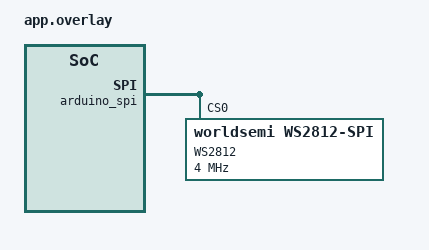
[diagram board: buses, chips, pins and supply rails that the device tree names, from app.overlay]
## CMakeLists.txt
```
cmake_minimum_required(VERSION 3.20.0)

set(CMAKE_EXPORT_COMPILE_COMMANDS ON)

find_package(Zephyr REQUIRED HINTS $ENV{ZEPHYR_BASE})

project(touche_server)

target_sources(app PRIVATE
    src/main.c

    src/actions_handler/actions_handler.c
    src/actions_handler/actions_handler.h

    src/buzzer/buzzer.c
    src/buzzer/buzzer.h

    src/led_ring/led_ring.c
    src/led_ring/led_ring.h

    ../shared/led/led.c
    ../shared/led/led.h

    ../shared/radio/radio.c
    ../shared/radio/radio.h
    )

target_include_directories(app PRIVATE
        ../shared
        ../shared/radio
        ../shared/led
    )
```

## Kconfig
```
config SPI
	default y

source "Kconfig.zephyr"
```

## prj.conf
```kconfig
# gpio
CONFIG_GPIO=y

# enable logs
CONFIG_LOG=y
CONFIG_LOG_MODE_IMMEDIATE=y

# Enhanced ShockBurst
CONFIG_ESB=y

# enable __ASSERT macro
CONFIG_ASSERT=y

CONFIG_SPI=y
CONFIG_LED_STRIP=y
CONFIG_LED_STRIP_LOG_LEVEL_DBG=y
CONFIG_WS2812_STRIP=y
```

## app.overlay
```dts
#include <dt-bindings/gpio/gpio.h>
#include <dt-bindings/led/led.h>

&arduino_spi {
    status = "okay";
    compatible = "nordic,nrf-spim";
led_strip: ws2812@0 {
               compatible = "worldsemi,ws2812-spi";
               label = "WS2812";

               /* SPI */
               reg = <0>; /* ignored, but necessary for SPI bindings */
               spi-max-frequency = <4000000>;

               /* WS2812 */
               chain-length = <12>;
               color-mapping = <
                   LED_COLOR_ID_GREEN
                   LED_COLOR_ID_RED
                   LED_COLOR_ID_BLUE
                   >;
               spi-one-frame = <0x70>;
               spi-zero-frame = <0x40>;
           };
};

/ {
    aliases {
        led-strip = &led_strip;
    };
};
```

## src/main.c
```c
#include "actions_handler/actions_handler.h"
#include "buzzer/buzzer.h"
#include "led/led.h"
#include "led_ring/led_ring.h"
#include "protocol.h"
#include "radio/radio.h"

#include <assert.h>
#include <logging/log.h>
#include <nrf.h>
#include <stdlib.h>
#include <zephyr.h>

LOG_MODULE_REGISTER(main_server, LOG_LEVEL_INF);

void main()
{
    LOG_INF("Starting main");

    // init led
    __ASSERT(led_init() == EXIT_SUCCESS, "Led init failed");

    // init radio
    __ASSERT(radio_init() == EXIT_SUCCESS, "Radio init failed");
    __ASSERT(radio_start_rx() == EXIT_SUCCESS, "Radio rx setup failed");

    // init buzzer
    __ASSERT(buzzer_init() == EXIT_SUCCESS, "Buzzer init failed");

    __ASSERT(led_ring_init() == 0, "Led ring init failed");

    while (1) {
        struct esb_payload *packet = radio_get_last_message();
        if (packet) {
            payload_type_e payload_type = GET_PAYLOAD(packet->data[0]);
            touche_role_e role = GET_ROLE(packet->data[0]);

            switch (payload_type) {
                case HIT:
                    LOG_INF("Received message");
                    led_set();
                    led_ring_set_color(RGB_COLOR_GREEN);
                    buzzer_start();
                    k_sleep(K_MSEC(FENCING_BLINKING_TIME));
                    buzzer_stop();
                    led_ring_turn_off();
                    break;
                default:
                    LOG_ERR("Invalid payload %d", payload_type);
                    break;
            }
        }
    }
}
```

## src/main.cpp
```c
/*
Touché Project
Copyright (C) 2024 Assouline Yohann

This program is free software: you can redistribute it and/or modify
it under the terms of the GNU General Public License as published by
the Free Software Foundation, either version 3 of the License, or
any later version.

This program is distributed in the hope that it will be useful,
but WITHOUT ANY WARRANTY; without even the implied warranty of
MERCHANTABILITY or FITNESS FOR A PARTICULAR PURPOSE.  See the
GNU General Public License for more details.

You should have received a copy of the GNU General Public License
along with this program.  If not, see <http://www.gnu.org/licenses/>.
*/

#include "ActionManager.hpp"
#include "ArduinoLog.h"
#include "Button.hpp"
#include "Buzzer.hpp"
#include "LedRing.hpp"
#include "Potentiometer.hpp"
#include "RadioModule.hpp"
#include "ServerConfig.hpp"
#include "config.h"
#include "protocol.h"
#include "touche.h"
#include "utils.hpp"

#include <Arduino.h>

Buzzer buzzer(BUZZER_PIN);
Potentiometer potentiometer(POTENTIOMETER_PIN);
LedRing led_ring(LED_RING_PIN);
RadioModule radio_module(NRF24L01_CE_PIN, NRF24L01_CS_PIN);
ServerConfig config(DEFAULT_WEAPON_MODE);
static ActionManager action_manager;

void checkButtonsPressed();
void runCalibrationProcess();

static bool is_calibrating = false;

/**
 * @brief callback needed for arduino-log
 */
static void printLineEnding(Print *_logOutput)
{
    _logOutput->print(CRLF);
}

void setup()
{
#ifndef DISABLE_LOGGING
    Serial.flush();
    Serial.begin(9600);

    // view available log level here : https://github.com/Yohannfra/Arduino-Log
    Log.begin(LOG_LEVEL_VERBOSE, &Serial, true);
    Log.setSuffix(printLineEnding);
#endif

    Log.trace(CRLF "==== Booting server ====" CRLF);

    Log.notice("%s", config.getWeapon() == EPEE ? "EPEE" : "FOIL");

    radio_module.init(SERVER);
    led_ring.init();
    led_ring.blink(ORANGE_RGB, 200, 1);

    radio_module.setAckPayload(CREATE_ACK_PAYLOAD(config.getPisteMode(), config.getWeapon()));
}

void loop()
{
    packet_t packet = radio_module.receiveMsg();

    if (packet) {
        utils::print_packet(packet);

        touche_role_e player_role = GET_ROLE(packet);
        payload_type_e payload = GET_PAYLOAD(packet);

        if (payload == HIT) {
            Log.notice("HIT");
            action_manager.hit(player_role, true);
        } else if (payload == INVALID_HIT) {
            Log.notice("INVALID HIT");
            action_manager.hit(player_role, false);
        } else if (payload == CALIBRATION_STARTING) {
            Log.notice("CALIBRATION STARTED");
            is_calibrating = true;
            runCalibrationProcess();
        }

        if (payload == CALIBRATION_END) {
            Log.notice("CALIBRATION END");
            led_ring.do_circle_annimation(NONE_RGB);
            led_ring.blink(GREEN_RGB, 100, 3);
            is_calibrating = false;
        } else if (payload == CALIBRATION_FAILED) {
            Log.warning("CALIBRATION FAILED");
            led_ring.do_circle_annimation(NONE_RGB);
            led_ring.blink(RED_RGB, 100, 3);
            is_calibrating = false;
        }
    }

    // signal hit(s)
    uint16_t hits = action_manager.getHitStatus();

    if (hits != ActionManager::NONE) {
        buzzer.play(potentiometer.getMappedValue());
        led_ring.show_hits(hits);

        if (action_manager.isResetTime()) {
            Log.notice("resetting values");
            action_manager.reset();
            led_ring.turn_off();
            buzzer.stop();
        }
    } else {  // Check buttons only if no hit is occuring
        checkButtonsPressed();
    }

    if (is_calibrating) {
        runCalibrationProcess();
    }
}
```

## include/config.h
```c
/*
Touché Project
Copyright (C) 2024 Assouline Yohann

This program is free software: you can redistribute it and/or modify
it under the terms of the GNU General Public License as published by
the Free Software Foundation, either version 3 of the License, or
any later version.

This program is distributed in the hope that it will be useful,
but WITHOUT ANY WARRANTY; without even the implied warranty of
MERCHANTABILITY or FITNESS FOR A PARTICULAR PURPOSE.  See the
GNU General Public License for more details.

You should have received a copy of the GNU General Public License
along with this program.  If not, see <http://www.gnu.org/licenses/>.
*/

#ifndef CONFIG_H
#define CONFIG_H

/**
 * @brief Arduino pin used for the buzzer
 */
#define BUZZER_PIN 10

/**
 * @brief Arduino pin used for the potentiometer
 */
#define POTENTIOMETER_PIN A3

/**
 * @brief Arduino pin used for the piste mode button
 */

#define PIN_BUTTON_SWITCH_PLAYERS 4

#define PIN_BUTTON_PISTE_MODE 5

#define PIN_BUTTON_CHANGE_WEAPON 6

/**
 * @brief Arduino pin used for the neopixel ring
 */
#define LED_RING_PIN 3

/**
 * @brief Arduino pin for chip enable pin of NRF24L01
 */
#define NRF24L01_CE_PIN 7

/**
 * @brief Arduino pin for chip select pin of NRF24L01
 */
#define NRF24L01_CS_PIN 8

#endif /* CONFIG_H */
```

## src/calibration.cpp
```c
/*
Touché Project
Copyright (C) 2024 Assouline Yohann

This program is free software: you can redistribute it and/or modify
it under the terms of the GNU General Public License as published by
the Free Software Foundation, either version 3 of the License, or
any later version.

This program is distributed in the hope that it will be useful,
but WITHOUT ANY WARRANTY; without even the implied warranty of
MERCHANTABILITY or FITNESS FOR A PARTICULAR PURPOSE.  See the
GNU General Public License for more details.

You should have received a copy of the GNU General Public License
along with this program.  If not, see <http://www.gnu.org/licenses/>.
*/

#include "ArduinoLog.h"
#include "Buzzer.hpp"
#include "LedRing.hpp"

#include <Arduino.h>

extern LedRing led_ring;

void runCalibrationProcess()
{
    static uint32_t t1 = 0;

    if (millis() - t1 > 100) {
        led_ring.do_circle_annimation(ORANGE_RGB);
        t1 = millis();
    }
}
```

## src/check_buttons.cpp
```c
/*
Touché Project
Copyright (C) 2024 Assouline Yohann

This program is free software: you can redistribute it and/or modify
it under the terms of the GNU General Public License as published by
the Free Software Foundation, either version 3 of the License, or
any later version.

This program is distributed in the hope that it will be useful,
but WITHOUT ANY WARRANTY; without even the implied warranty of
MERCHANTABILITY or FITNESS FOR A PARTICULAR PURPOSE.  See the
GNU General Public License for more details.

You should have received a copy of the GNU General Public License
along with this program.  If not, see <http://www.gnu.org/licenses/>.
*/

#include "ArduinoLog.h"
#include "Button.hpp"
#include "Buzzer.hpp"
#include "LedRing.hpp"
#include "Potentiometer.hpp"
#include "RadioModule.hpp"
#include "ServerConfig.hpp"

#include <Arduino.h>

extern Buzzer buzzer;
extern Potentiometer potentiometer;
extern LedRing led_ring;
extern RadioModule radio_module;
extern ServerConfig config;

static Button buttonPisteMode(PIN_BUTTON_PISTE_MODE);
static Button buttonSwitchPlayer(PIN_BUTTON_SWITCH_PLAYERS);
static Button buttonChangeWeapon(PIN_BUTTON_CHANGE_WEAPON);

void checkButtonsPressed()
{
    // Piste mode
    if (buttonPisteMode.isPressed()) {
        Log.notice("Button piste pressed !");
        config.setPisteMode(!config.getPisteMode());
        radio_module.setAckPayload(CREATE_ACK_PAYLOAD(config.getPisteMode(), config.getWeapon()));
        buzzer.play(potentiometer.getMappedValue());
        led_ring.blink(ORANGE_RGB, 100, 3);
        buzzer.stop();
    }

    // switch players
    if (buttonSwitchPlayer.isPressed()) {
        Log.notice("Button switch pressed !");
        led_ring.switchColors();
        buzzer.play(potentiometer.getMappedValue());
        led_ring.blinkBoth(led_ring.getPlayerColor(PLAYER_1), led_ring.getPlayerColor(PLAYER_2), 400, 2);
        buzzer.stop();
    }

    // change weapon
    if (buttonChangeWeapon.isPressed()) {
        Log.notice("Button change weapon pressed !");

        constexpr uint8_t NB_WEAPONS = 2;
        constexpr weapon_mode_e weapons[NB_WEAPONS] = {EPEE, FOIL /*, SABRE */};
        config.setWeapon(weapons[(config.getWeapon() + 1) % NB_WEAPONS]);  // shift to next weapon
        radio_module.setAckPayload(CREATE_ACK_PAYLOAD(config.getPisteMode(), config.getWeapon()));

        Log.notice("weapon is now: %s", config.getWeapon() == EPEE ? "EPEE" : "FOIL");

        buzzer.play(potentiometer.getMappedValue());
        led_ring.blink(ORANGE_RGB, 100, 3);
        buzzer.stop();
    }
}
```
